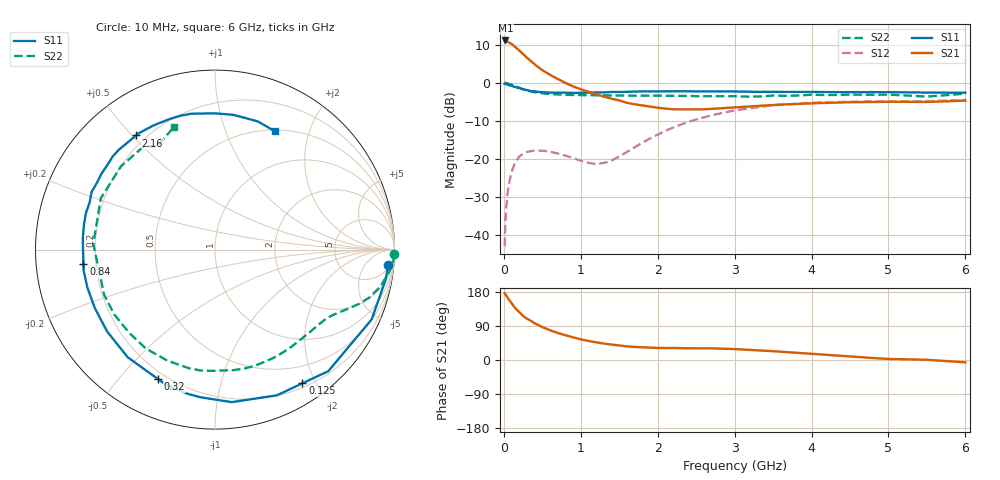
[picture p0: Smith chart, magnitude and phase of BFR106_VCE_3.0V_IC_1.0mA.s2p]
! Infineon Technologies  Discrete & RF Semiconductors
! BFR106
! VCE =  3.0 V,  IC =  1.0 mA
! Common Emitter S-Parameters:  Nov 2015
# GHz  S  MA  R  50
!  f  S11  S21  S12  S22
! GHz  MAG  ANG  MAG  ANG  MAG  ANG  MAG  ANG
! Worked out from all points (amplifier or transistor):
!   210 points, 10 MHz to 6 GHz, reference 50 ohm
!   highest |S21| = 11.1 dB at 20 MHz (marker M1)
!   |S21| within 3 dB of that: start of sweep to 219.7 MHz
!   unconditionally stable (mu >= 1): 855.3 MHz to end of sweep
!   at 185 MHz: K = 0.20, MSG = 14.3 dB, |S12| = -19.8 dB
!   at 1.52 GHz: K = 1.36, MAG = 3.6 dB, |S12| = -19.1 dB
!   at 6 GHz: K = 1.02, MAG = -0.9 dB, |S12| = -4.5 dB
!   S11 on the Smith chart (normalised r, x): 10 MHz: 7, -20; 125 MHz: 0.25, -1.82; 320 MHz: 0.17, -0.64; 840 MHz: 0.15, -0.05; 2.16 GHz: 0.16, +0.51; 6 GHz: 0.52, +1.50
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0.01  0.9685 -5.0  3.574 176.2  0.0072 89.0  0.999 -1.5
0.02  0.9659 -9.8  3.582 173.7  0.0147 83.2  0.9995 -2.8
0.05  0.9556 -24.0  3.46 163.7  0.0365 75.6  0.9821 -6.7
0.1  0.9259 -47.0  3.245 149.8  0.0675 64.1  0.9451 -12.5
0.125  0.8902 -56.8  3.071 143.3  0.0791 57.4  0.9219 -14.8
0.15  0.882 -67.0  2.942 136.1  0.0914 52.5  0.9003 -17.3
0.2  0.8549 -83.7  2.651 126.0  0.1073 44.3  0.8598 -20.5
0.26  0.8178 -100.8  2.327 114.9  0.1192 36.1  0.8142 -23.8
0.32  0.7882 -113.7  2.044 107.0  0.125 30.5  0.7833 -26.2
0.4  0.7722 -129.0  1.742 96.9  0.1295 23.9  0.75 -29.1
0.5  0.7546 -142.8  1.459 86.7  0.1287 18.5  0.726 -32.5
0.7  0.7418 -163.5  1.12 71.2  0.118 14.0  0.7026 -40.2
0.84  0.7376 -173.7  0.953 63.1  0.1076 15.0  0.6923 -45.7
1.02  0.7389 174.5  0.808 53.8  0.0937 21.4  0.6881 -53.4
1.4  0.7588 155.0  0.617 40.7  0.0954 54.3  0.6842 -71.3
2.02  0.77 129.5  0.468 31.8  0.2142 71.7  0.6752 -103.6
2.16  0.7733 124.7  0.452 31.6  0.2484 69.8  0.672 -111.1
2.78  0.7701 105.1  0.46 30.4  0.3899 55.6  0.6662 -146.2
3.1  0.7647 97.8  0.482 27.7  0.4466 46.7  0.6593 -162.7
4.1  0.756 81.0  0.541 15.0  0.5504 22.6  0.6928 152.3
5.1  0.7503 70.5  0.562 2.3  0.5719 6.0  0.6908 123.4
6  0.7391 63.1  0.584 -6.2  0.5971 -4.8  0.7197 108.6
